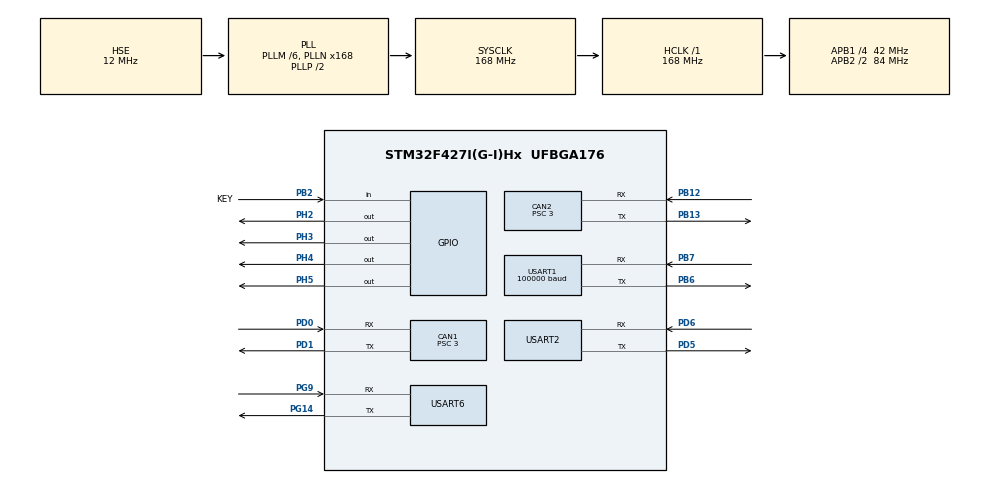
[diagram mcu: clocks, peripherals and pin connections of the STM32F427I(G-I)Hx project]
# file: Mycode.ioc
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CAN1.BS1=CAN_BS1_10TQ
CAN1.BS2=CAN_BS2_3TQ
CAN1.CalculateTimeQuantum=71.42857142857143
CAN1.Prescaler=3
CAN1.RFLM=ENABLE
CAN1.TTCM=ENABLE
CAN1.TXFP=ENABLE
CAN2.BS1=CAN_BS1_10TQ
CAN2.BS2=CAN_BS2_3TQ
CAN2.CalculateTimeQuantum=71.42857142857143
CAN2.Prescaler=3
Dma.Request0=USART1_RX
Dma.USART1_RX.0.Direction=DMA_PERIPH_TO_MEMORY
Dma.USART1_RX.0.FIFOMode=DMA_FIFOMODE_DISABLE
Dma.USART1_RX.0.Instance=DMA2_Stream2
Dma.USART1_RX.0.MemDataAlignment=DMA_MDATAALIGN_BYTE
Dma.USART1_RX.0.MemInc=DMA_MINC_ENABLE
Dma.USART1_RX.0.Mode=DMA_CIRCULAR
Dma.USART1_RX.0.PeriphDataAlignment=DMA_PDATAALIGN_BYTE
Dma.USART1_RX.0.PeriphInc=DMA_PINC_DISABLE
Dma.USART1_RX.0.Priority=DMA_PRIORITY_VERY_HIGH
Mcu.Family=STM32F4
Mcu.Name=STM32F427I(G-I)Hx
Mcu.Package=UFBGA176
NVIC.CAN1_RX0_IRQn=true\:0\:0\:false\:false\:true\:true\:true
NVIC.CAN1_TX_IRQn=true\:0\:0\:false\:false\:true\:true\:true
NVIC.CAN2_RX0_IRQn=true\:0\:0\:false\:false\:true\:true\:true
NVIC.CAN2_TX_IRQn=true\:0\:0\:false\:false\:true\:true\:true
NVIC.DMA2_Stream2_IRQn=true\:0\:0\:false\:false\:true\:false\:true
NVIC.PriorityGroup=NVIC_PRIORITYGROUP_4
PA13.Mode=Serial_Wire
PA13.Signal=SYS_JTMS-SWDIO
PA14.Mode=Serial_Wire
PA14.Signal=SYS_JTCK-SWCLK
PB12.Mode=Slave
PB12.Signal=CAN2_RX
PB13.Mode=Slave
PB13.Signal=CAN2_TX
PB2/BOOT1.GPIO_Label=KEY
PB2/BOOT1.Signal=GPIO_Input
PB6.Mode=Asynchronous
PB6.Signal=USART1_TX
PB7.Mode=Asynchronous
PB7.Signal=USART1_RX
PD0.Mode=Master
PD0.Signal=CAN1_RX
PD1.Mode=Master
PD1.Signal=CAN1_TX
PD5.Mode=Asynchronous
PD5.Signal=USART2_TX
PD6.Mode=Asynchronous
PD6.Signal=USART2_RX
PG14.Mode=Asynchronous
PG14.Signal=USART6_TX
PG9.Mode=Asynchronous
PG9.Signal=USART6_RX
PH0/OSC_IN.Mode=HSE-External-Oscillator
PH0/OSC_IN.Signal=RCC_OSC_IN
PH1/OSC_OUT.Mode=HSE-External-Oscillator
PH1/OSC_OUT.Signal=RCC_OSC_OUT
PH2.PinState=GPIO_PIN_SET
PH2.Signal=GPIO_Output
PH3.PinState=GPIO_PIN_SET
PH3.Signal=GPIO_Output
PH4.PinState=GPIO_PIN_SET
PH4.Signal=GPIO_Output
PH5.PinState=GPIO_PIN_SET
PH5.Signal=GPIO_Output
ProjectManager.HeapSize=0x200
ProjectManager.StackSize=0x400
ProjectManager.TargetToolchain=MDK-ARM V5
RCC.48MHZClocksFreq_Value=84000000
RCC.AHBFreq_Value=168000000
RCC.APB1CLKDivider=RCC_HCLK_DIV4
RCC.APB1Freq_Value=42000000
RCC.APB1TimFreq_Value=84000000
RCC.APB2CLKDivider=RCC_HCLK_DIV2
RCC.APB2Freq_Value=84000000
RCC.APB2TimFreq_Value=168000000
RCC.CortexFreq_Value=168000000
RCC.HCLKFreq_Value=168000000
RCC.HSE_VALUE=12000000
RCC.HSI_VALUE=16000000
RCC.LSE_VALUE=32768
RCC.PLLM=6
RCC.PLLN=168
RCC.PLLSourceVirtual=RCC_PLLSOURCE_HSE
RCC.SYSCLKFreq_VALUE=168000000
RCC.SYSCLKSource=RCC_SYSCLKSOURCE_PLLCLK
RCC.VCOOutputFreq_Value=336000000
USART1.BaudRate=100000
USART1.Mode=MODE_RX
USART1.Parity=PARITY_EVEN
USART1.VirtualMode=VM_ASYNC
USART2.VirtualMode=VM_ASYNC
USART6.VirtualMode=VM_ASYNC
board=custom

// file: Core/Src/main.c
/* USER CODE BEGIN Header */
/**
  ******************************************************************************
  * @file           : main.c
  * @brief          : Main program body
  ******************************************************************************
  * @attention
  *
  * <h2><center>&copy; Copyright (c) 2021 STMicroelectronics.
  * All rights reserved.</center></h2>
  *
  * This software component is licensed by ST under BSD 3-Clause license,
  * the "License"; You may not use this file except in compliance with the
  * License. You may obtain a copy of the License at:
  *                        opensource.org/licenses/BSD-3-Clause
  *
  ******************************************************************************
  */
/* USER CODE END Header */
#include "main.h"
#include "can.h"
#include "dma.h"
#include "usart.h"
#include "gpio.h"

/* USER CODE BEGIN Includes */
#include "pid.h"
#include "can_receive.h"
#include "remote.h"
/* USER CODE END Includes */

/* USER CODE BEGIN PV */
int32_t set_spd = 0;
static int key_sta = 0;
int speed_step_sign = +1;
#define SpeedStep 2000
PID_Regulator_t pid[4];
const motor_measure_t* measure[4];
const RC_ctrl_t* remoter;

float out[4];
int16_t message[8];
float kp[4]={0.42,1,1,1};
float ki[4]={0.0064,0,0,0};
float kd[4]={0,0,0,0};
/* USER CODE END PV */

void SystemClock_Config(void);

/* USER CODE BEGIN 0 */
void sendware(void *wareaddr, uint32_t waresize)
{
	#define CMD_WARE     3
	uint8_t cmdf[2] = {CMD_WARE, ~CMD_WARE};
	uint8_t cmdr[2] = {~CMD_WARE, CMD_WARE};
	HAL_UART_Transmit(&huart2, (uint8_t *)cmdf, sizeof(cmdf), 5000);
	HAL_UART_Transmit(&huart2, (uint8_t *)wareaddr, waresize ,5000);
	HAL_UART_Transmit(&huart2, (uint8_t *)cmdr, sizeof(cmdr), 5000);
}

void Key_Scan(){

		if(HAL_GPIO_ReadPin(KEY_GPIO_Port,KEY_Pin) == GPIO_PIN_RESET){

			if(key_sta == 0){

				key_sta = 1;

				set_spd += SpeedStep*speed_step_sign;

				if(set_spd>6000)
				{
					speed_step_sign = -1;
				}

				if(set_spd<=0){

					set_spd = 0;
					speed_step_sign = 1;

				}

			}

		}else{

			key_sta = 0;

		}

}

/* USER CODE END 0 */

int main(void)
{

  /* MCU Configuration--------------------------------------------------------*/

  /* Reset of all peripherals, Initializes the Flash interface and the Systick. */
  HAL_Init();

  /* Configure the system clock */
  SystemClock_Config();

  /* Initialize all configured peripherals */
  MX_GPIO_Init();
  MX_DMA_Init();
  MX_CAN1_Init();
  MX_USART6_UART_Init();
  MX_CAN2_Init();
  MX_USART2_UART_Init();
  MX_USART1_UART_Init();
  /* USER CODE BEGIN 2 */
	for(int i=0;i<4;i++)
	{
		PID_Init( &pid[i],0,9000,9000,kp[i],ki[i],kd[i]);
	}
	CAN1_Init();

	HAL_UART_Receive_DMA(&huart1,teledata_rx,sizeof(teledata_rx));
  /* USER CODE END 2 */

  /* Infinite loop */
  /* USER CODE BEGIN WHILE */
  while (1)
  {

		remoter=get_remote_control_point();

		for(int i=0; i<4; i++)
    {
			measure[i]=get_Chassis_Motor_Measure_Point(i);
			out[i]=PID_Calculate(&pid[i],measure[i]->speed_rpm, set_spd);
		}
		CAN_CMD_Chassis(out[0],out[1],out[2],out[3]);

		for(int i=0; i<4; i++)
    {
			message[i]=remoter->rc.ch[i];
		}
		sendware(message,sizeof(message));
		HAL_Delay(10);

    /* USER CODE END WHILE */

  }
}

void SystemClock_Config(void)
{
  RCC_OscInitTypeDef RCC_OscInitStruct = {0};
  RCC_ClkInitTypeDef RCC_ClkInitStruct = {0};

  /** Configure the main internal regulator output voltage
  */
  __HAL_RCC_PWR_CLK_ENABLE();
  __HAL_PWR_VOLTAGESCALING_CONFIG(PWR_REGULATOR_VOLTAGE_SCALE1);
  /** Initializes the RCC Oscillators according to the specified parameters
  * in the RCC_OscInitTypeDef structure.
  */
  RCC_OscInitStruct.OscillatorType = RCC_OSCILLATORTYPE_HSE;
  RCC_OscInitStruct.HSEState = RCC_HSE_ON;
  RCC_OscInitStruct.PLL.PLLState = RCC_PLL_ON;
  RCC_OscInitStruct.PLL.PLLSource = RCC_PLLSOURCE_HSE;
  RCC_OscInitStruct.PLL.PLLM = 6;
  RCC_OscInitStruct.PLL.PLLN = 168;
  RCC_OscInitStruct.PLL.PLLP = RCC_PLLP_DIV2;
  RCC_OscInitStruct.PLL.PLLQ = 4;
  if (HAL_RCC_OscConfig(&RCC_OscInitStruct) != HAL_OK)
  {
    Error_Handler();
  }
  /** Initializes the CPU, AHB and APB buses clocks
  */
  RCC_ClkInitStruct.ClockType = RCC_CLOCKTYPE_HCLK|RCC_CLOCKTYPE_SYSCLK
                              |RCC_CLOCKTYPE_PCLK1|RCC_CLOCKTYPE_PCLK2;
  RCC_ClkInitStruct.SYSCLKSource = RCC_SYSCLKSOURCE_PLLCLK;
  RCC_ClkInitStruct.AHBCLKDivider = RCC_SYSCLK_DIV1;
  RCC_ClkInitStruct.APB1CLKDivider = RCC_HCLK_DIV4;
  RCC_ClkInitStruct.APB2CLKDivider = RCC_HCLK_DIV2;

  if (HAL_RCC_ClockConfig(&RCC_ClkInitStruct, FLASH_LATENCY_5) != HAL_OK)
  {
    Error_Handler();
  }
}

/* USER CODE BEGIN 4 */
void HAL_CAN_RxFifo0MsgPendingCallback(CAN_HandleTypeDef *hcan)
{
	CAN_RxHeaderTypeDef rx_header;
	uint8_t rx_data[8];
	HAL_CAN_GetRxMessage(hcan, CAN_RX_FIFO0, &rx_header, rx_data);
	CAN1_Getdata(&rx_header, rx_data);
}

void HAL_UART_RxCpltCallback(UART_HandleTypeDef *huart)
{
	if(huart->Instance==USART1)
	{
		SBUS_TO_RC(teledata_rx,&rc_ctrl);
		RC_data_is_error();
	}
}

/* USER CODE END 4 */

void Error_Handler(void)
{
}

/************************ (C) COPYRIGHT STMicroelectronics *****END OF FILE****/
